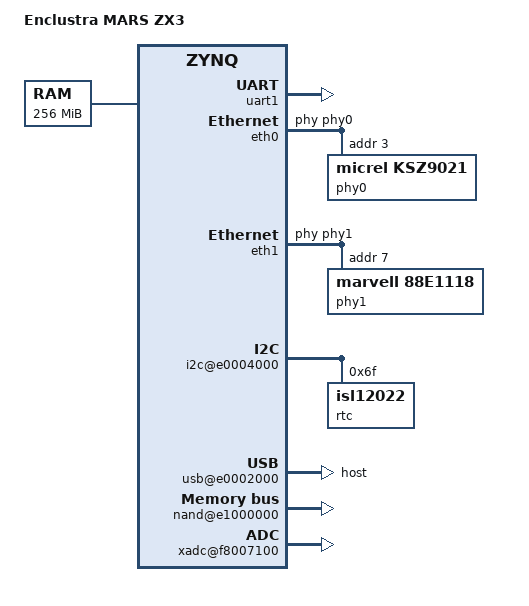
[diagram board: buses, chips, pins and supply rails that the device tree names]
/*
 *  Copyright (C) 2012 NetModule AG
 *
 * This software is licensed under the terms of the GNU General Public
 * License version 2, as published by the Free Software Foundation, and
 * may be copied, distributed, and modified under those terms.
 *
 * This program is distributed in the hope that it will be useful,
 * but WITHOUT ANY WARRANTY; without even the implied warranty of
 * MERCHANTABILITY or FITNESS FOR A PARTICULAR PURPOSE.  See the
 * GNU General Public License for more details.
 */

/dts-v1/;

/ {
	model = "Enclustra MARS ZX3";
	compatible = "xlnx,zynq-zc770";
	#address-cells = <0x1>;
	#size-cells = <0x1>;
	interrupt-parent = <&gic>;

	memory {
		device_type = "memory";
		reg = <0x0 0x10000000>; /* 256 MB */
	};

	chosen {
		linux,stdout-path = "@uart1";
	};
	
	soc {
		compatible = "xlnx,zynq";
		clock-frequency = <33333333>;
	};

	amba@0 {
		compatible = "simple-bus";
		#address-cells = <0x1>;
		#size-cells = <0x1>;
		ranges;

		gic: intc@f8f01000 {
			interrupt-controller;
			compatible = "arm,cortex-a9-gic";
			#interrupt-cells = <3>;
			reg = < 0xf8f01000 0x1000 >,
			      < 0xf8f00100 0x0100 >;
		};

		pl310@f8f02000 {
			compatible = "arm,pl310-cache";
			cache-unified;
			cache-level = <0x2>;
			reg = <0xf8f02000 0x1000>;
			arm,data-latency = <0x3 0x2 0x2>;
			arm,tag-latency = <0x2 0x2 0x2>;
			interrupts = <0x0 0x22 0x4>;
		};

		uart1: uart@e0001000 {
			compatible = "xlnx,ps7-uart-1.00.a";
			reg = <0xe0001000 0x1000>;
			interrupts = <0x0 0x32 0x0>;
			interrupt-parent = <&gic>;
			clock = <0x5f5e100>;
		};
		
		timer@0xf8001000 {
			compatible = "xlnx,ps7-ttc-1.00.a";
			reg = <0xf8001000 0x1000>;
			interrupts = <0x0 0xa 0x0 0x0 0xb 0x0 0x0 0xc 0x0>;
			interrupt-parent = <&gic>;
			clock-frequency-timer0 = <0x69f6bc7>;
			clock-frequency-timer1 = <0x69f6bc7>;
			clock-frequency-timer2 = <0x69f6bc7>;
		};

		swdt@f8005000 {
			device_type = "watchdog";
			compatible = "xlnx,ps7-wdt-1.00.a";
			reg = <0xf8005000 0x100>;
			clock-frequency = <0x69f6bc7>;
		};

		eth0: eth@e000b000 {
			#address-cells = <0x1>;
			#size-cells = <0x0>;
			compatible = "xlnx,ps7-ethernet-1.00.a";
			reg = <0xe000b000 0x1000>;
			interrupt-parent = <&gic>;
			interrupts = <0x0 0x16 0x0>;
			phy-handle = <&phy0>;

			phy0: phy@3 {
				compatible = "micrel,ksz9021";
				device_type = "ethernet-phy";
				reg = <0x3>;
			};
		};
		
		eth1: eth@e000c000 {
			#address-cells = <0x1>;
			#size-cells = <0x0>;
			compatible = "xlnx,ps7-ethernet-1.00.a";
			reg = <0xE000C000 0x1000>;
			interrupt-parent = <&gic>;
			interrupts = <0 45 0>;
			phy-handle = <&phy1>;
			
			phy1: phy@7 {
				compatible = "marvell,88e1118";
				device_type = "ethernet-phy";
				reg = <7>;
			} ;
		};

		slcr@f8000000 {
			compatible = "xlnx,ps7-slcr-1.00.a";
			reg = <0xf8000000 0x1000>;
		};

		i2c@e0004000 {
			compatible = "xlnx,ps7-i2c-1.00.a";
			reg = <0xe0004000 0x1000>;
			interrupts = <0x0 0x19 0x0>;
			interrupt-parent = <&gic>;
			bus-id = <0x0>;
			input-clk = <0x69f6bc7>;
			i2c-clk = <0x186a0>;
			#address-cells = <0x1>;
			#size-cells = <0x0>;
			
			rtc@6F {
				compatible = "isl12022";
				reg = <0x6F>;
			}; 
			
		};

		usb@e0002000 {
			compatible = "xlnx,ps7-usb-1.00.a";
			reg = <0xe0002000 0x1000>;
			interrupts = <0x0 0x15 0x0>;
			interrupt-parent = <&gic>;
			dr_mode = "host";
			phy_type = "ulpi";
		};

		gpio@e000a000 {
			compatible = "xlnx,ps7-gpio-1.00.a";
			reg = <0xe000a000 0x1000>;
			interrupts = <0x0 0x14 0x0>;
			interrupt-parent = <&gic>;
		};

		nand@e1000000 {
			compatible = "xlnx,ps7-nand-1.00.a";
			reg = <0xe1000000 0x1000000 0xe000e000 0x1000>;
			#address-cells = <0x1>;
			#size-cells = <0x1>;

			partition@0 {
				label = "nand-linux";
				reg = <0x0 0x500000>;
			};
			
			partition@1 {
				label = "nand-device-tree";
				reg = <0x500000 0x100000>;
			};
			
			partition@2 {
				label = "nand-rootfs";
				reg = <0x600000 0xFA00000>;
			};
		};

		devcfg@f8007000 {
			compatible = "xlnx,ps7-dev-cfg-1.00.a";
			reg = <0xf8007000 0x100>;
			interrupts = <0x0 0x8 0x0>;
			interrupt-parent = <&gic>;
		};

		xadc@f8007100 {
			compatible = "xlnx,ps7-xadc-1.00.a";
			reg = <0xf8007100 0x20>;
			interrupts = <0x0 0x7 0x0>;
			interrupt-parent = <&gic>;
		};

	};
};
